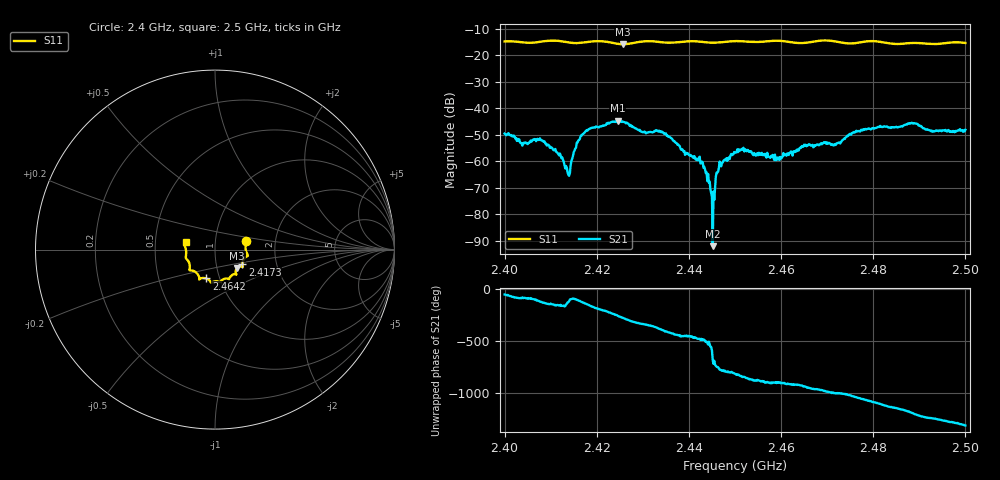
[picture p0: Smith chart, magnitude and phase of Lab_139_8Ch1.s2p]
# Hz S RI R 50
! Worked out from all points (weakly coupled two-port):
!   601 points, 2.4 GHz to 2.5 GHz, reference 50 ohm
!   highest |S21| = -44.75 dB at 2.4245 GHz (marker M1); lowest = -92.1 dB at 2.4452 GHz (marker M2)
!   lowest |S11| = -15.9 dB at 2.4257 GHz (marker M3), VSWR 1.38, Z = 62.4 - j13.1 ohm
!   |S11| at or under -10 dB: start of sweep to end of sweep
!   S12 and S22 are empty: the file has one direction only
!   S11 on the Smith chart (normalised r, x): 2.4 GHz: 1.41, +0.14; 2.4173 GHz: 1.34, -0.23; 2.4642 GHz: 0.86, -0.29; 2.5 GHz: 0.72, +0.06
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2.4e9  0.1737 0.0496  0.00187 -0.00272  0 0  0 0
2.403833e9  0.1719 0.027  0.000227 -0.00194  0 0  0 0
2.408167e9  0.1787 -0.0225  -0.00161 -0.00186  0 0  0 0
2.412e9  0.1799 -0.0364  -0.00132 -0.000441  0 0  0 0
2.413667e9  0.1685 -0.0443  -0.000409 -0.000457  0 0  0 0
2.416667e9  0.1528 -0.075  -0.00174 -0.00245  0 0  0 0
2.417333e9  0.1522 -0.0824  -0.0026 -0.00225  0 0  0 0
2.4245e9  0.1318 -0.0956  -0.00125 0.00565  0 0  0 0
2.425667e9  0.1224 -0.1024  0.000835 0.00547  0 0  0 0
2.430167e9  0.1181 -0.1368  0.00327 0.00127  0 0  0 0
2.433333e9  0.1125 -0.1364  0.00345 -0.00114  0 0  0 0
2.4425e9  0.0724 -0.1628  -0.000568 -0.000701  0 0  0 0
2.445167e9  0.0538 -0.1621  2e-05 1.5e-05  0 0  0 0
2.4465e9  0.0435 -0.1669  0.000552 -0.000496  0 0  0 0
2.45e9  0.0295 -0.1809  -9.81e-05 -0.00144  0 0  0 0
2.459333e9  -0.0223 -0.1842  -0.00108 1.74e-06  0 0  0 0
2.464167e9  -0.0482 -0.161  -0.00164 0.000731  0 0  0 0
2.466667e9  -0.0763 -0.1594  -0.00109 0.00165  0 0  0 0
2.483333e9  -0.1408 -0.0894  0.00287 -0.00318  0 0  0 0
2.488833e9  -0.1622 -0.0471  -0.00227 -0.00468  0 0  0 0
2.492833e9  -0.1605 -0.0159  -0.00348 -0.00134  0 0  0 0
2.5e9  -0.1637 0.0419  -0.00264 0.00286  0 0  0 0
